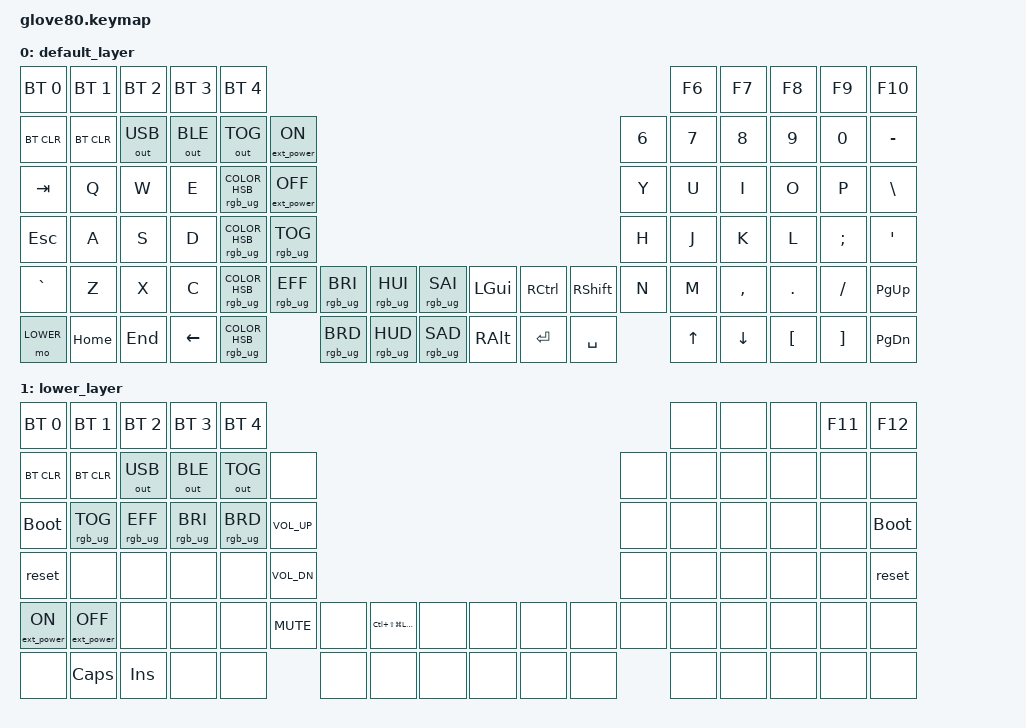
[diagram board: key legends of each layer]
/*
 * Copyright (c) 2020 The ZMK Contributors
 *
 * SPDX-License-Identifier: MIT
 */

#include <behaviors.dtsi>
#include <dt-bindings/zmk/keys.h>
#include <dt-bindings/zmk/bt.h>
#include <dt-bindings/zmk/ext_power.h>
#include <dt-bindings/zmk/outputs.h> 
#include <dt-bindings/zmk/rgb.h>

#define HYPER LC(LS(LG(LALT)))

// layers
#define DEFAULT 0
#define LOWER 1

/ {
    keymap {
      compatible = "zmk,keymap";

      default_layer {
        // ---------------------------------------------------------------------------------------------------------------------------------
        // |  F1   |  F2 |  F3 |  F4  |  F5  |                                                               |  F6   |  F7   |  F8  |   F9  |  F10 |
        // |  =    |  1  |  2  |  3   |  4   |  5   |                                                 |  6   |   7   |   8   |  9   |   0   |   -  |
        // |  TAB  |  Q  |  W  |  E   |  R   |  T   |                                                 |  Y   |   U   |   I   |  O   |   P   |   \  |
        // |  ESC  |  A  |  S  |  D   |  F   |  G   |                                                 |  H   |   J   |   K   |  L   |   ;   |   '  |
        // |   `   |  Z  |  X  |  C   |  V   |  B   | LSHFT | LCTRL | LOWER | | LGUI  | RCTRL | RSHFT |  N   |   M   |   ,   |  .   |   /   | PGUP |
        // | MAGIC | HOME| END | LEFT | RIGHT|      | BSPC  | DEL   | LALT  | | RALT  | RET   | SPACE |      |  UP   | DOWN  |  [   |   ]   | PGDN |


        // MAGIC is currently bound to the same as LAYER - these will be fixed later
        bindings = <
          &bt BT_SEL 0      &bt BT_SEL 1        &bt BT_SEL 2    &bt BT_SEL 3    &bt BT_SEL 4                                                                                        &kp F6  &kp F7      &kp F8      &kp F9      &kp F10
          &bt BT_CLR        &bt BT_CLR          &out OUT_USB    &out OUT_BLE    &out OUT_TOG      &ext_power EP_ON                                                                     &kp N6  &kp N7  &kp N8      &kp N9      &kp N0      &kp MINUS
          &kp TAB     &kp Q       &kp W       &kp E       &rgb_ug RGB_COLOR_HSB(60,100,100)                                   &ext_power EP_OFF                                                                    &kp Y   &kp U   &kp I       &kp O       &kp P       &kp BSLH
          &kp ESC     &kp A       &kp S       &kp D       &rgb_ug RGB_COLOR_HSB(240,100,100)                                   &rgb_ug RGB_TOG                                                                      &kp H   &kp J   &kp K       &kp L       &kp SEMI    &kp SQT
          &kp GRAVE   &kp Z       &kp X       &kp C       &rgb_ug RGB_COLOR_HSB(0,100,100)                                   &rgb_ug RGB_EFF   &rgb_ug RGB_BRI &rgb_ug RGB_HUI &rgb_ug RGB_SAI  &kp LGUI  &kp RCTRL &kp RSHFT   &kp N   &kp M   &kp COMMA   &kp DOT     &kp FSLH    &kp PG_UP
          &mo LOWER   &kp HOME    &kp END     &kp LEFT    &rgb_ug RGB_COLOR_HSB(0,1,100)                                                 &rgb_ug RGB_BRD &rgb_ug RGB_HUD &rgb_ug RGB_SAD  &kp RALT  &kp RET  &kp SPACE            &kp UP  &kp DOWN    &kp LBKT    &kp RBKT    &kp PG_DN
          >;
      };

      lower_layer {
        bindings = <
          &bt BT_SEL 0      &bt BT_SEL 1        &bt BT_SEL 2    &bt BT_SEL 3    &bt BT_SEL 4                                                                                                         &none        &none        &none        &kp F11      &kp F12
          &bt BT_CLR        &bt BT_CLR          &out OUT_USB    &out OUT_BLE    &out OUT_TOG    &none                                                                                   &none        &none        &none        &none        &none        &none
          &bootloader       &rgb_ug RGB_TOG     &rgb_ug RGB_EFF &rgb_ug RGB_BRI &rgb_ug RGB_BRD &kp K_VOL_UP                                                                            &none        &none        &none        &none        &none        &bootloader
          &reset            &none               &none           &none           &none           &kp K_VOL_DN                                                                            &none        &none        &none        &none        &none        &reset
          &ext_power EP_ON  &ext_power EP_OFF   &none           &none           &none           &kp K_MUTE      &none       &kp HYPER   &none       &none       &none       &none       &none        &none        &none        &none        &none        &none
          &none             &kp CAPS            &kp INS         &none           &none                           &none       &none       &none       &none       &none       &none                    &none        &none        &none        &none        &none
          >;
      };
    };
};

